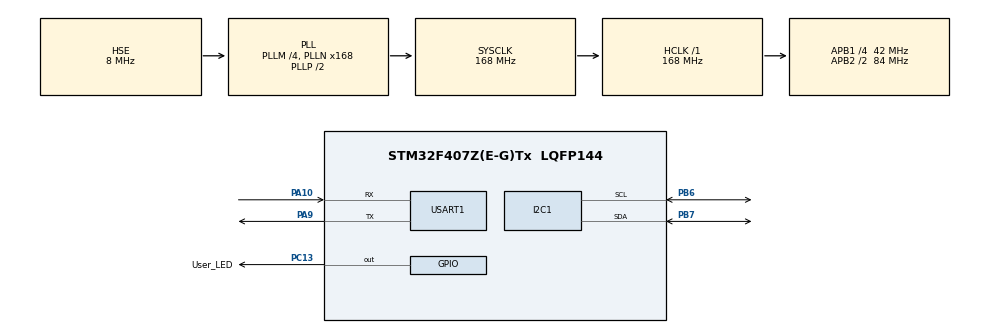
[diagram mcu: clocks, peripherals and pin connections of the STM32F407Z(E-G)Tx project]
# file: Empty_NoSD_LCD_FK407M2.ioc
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Mcu.Family=STM32F4
Mcu.Name=STM32F407Z(E-G)Tx
Mcu.Package=LQFP144
NVIC.PriorityGroup=NVIC_PRIORITYGROUP_4
PA10.Mode=Asynchronous
PA10.Signal=USART1_RX
PA13.Mode=Serial_Wire
PA13.Signal=SYS_JTMS-SWDIO
PA14.Mode=Serial_Wire
PA14.Signal=SYS_JTCK-SWCLK
PA9.Mode=Asynchronous
PA9.Signal=USART1_TX
PB6.Mode=I2C
PB6.Signal=I2C1_SCL
PB7.Mode=I2C
PB7.Signal=I2C1_SDA
PC13-ANTI_TAMP.GPIO_Label=User_LED
PC13-ANTI_TAMP.Signal=GPIO_Output
PC14-OSC32_IN.Mode=LSE-External-Oscillator
PC14-OSC32_IN.Signal=RCC_OSC32_IN
PC15-OSC32_OUT.Mode=LSE-External-Oscillator
PC15-OSC32_OUT.Signal=RCC_OSC32_OUT
PH0-OSC_IN.Mode=HSE-External-Oscillator
PH0-OSC_IN.Signal=RCC_OSC_IN
PH1-OSC_OUT.Mode=HSE-External-Oscillator
PH1-OSC_OUT.Signal=RCC_OSC_OUT
ProjectManager.HeapSize=0x200
ProjectManager.StackSize=0x400
ProjectManager.TargetToolchain=MDK-ARM V5.32
RCC.48MHZClocksFreq_Value=84000000
RCC.AHBFreq_Value=168000000
RCC.APB1CLKDivider=RCC_HCLK_DIV4
RCC.APB1Freq_Value=42000000
RCC.APB1TimFreq_Value=84000000
RCC.APB2CLKDivider=RCC_HCLK_DIV2
RCC.APB2Freq_Value=84000000
RCC.APB2TimFreq_Value=168000000
RCC.CortexFreq_Value=168000000
RCC.HCLKFreq_Value=168000000
RCC.HSE_VALUE=8000000
RCC.HSI_VALUE=16000000
RCC.PLLM=4
RCC.PLLN=168
RCC.PLLSourceVirtual=RCC_PLLSOURCE_HSE
RCC.SYSCLKFreq_VALUE=168000000
RCC.SYSCLKSource=RCC_SYSCLKSOURCE_PLLCLK
RCC.VCOOutputFreq_Value=336000000
USART1.VirtualMode=VM_ASYNC
board=custom

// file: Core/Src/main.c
/* USER CODE BEGIN Header */
/**
 ******************************************************************************
 * @file           : main.c
 * @brief          : Main program body
 ******************************************************************************
 * @attention
 *
 * Copyright (c) 2023 STMicroelectronics.
 * All rights reserved.
 *
 * This software is licensed under terms that can be found in the LICENSE file
 * in the root directory of this software component.
 * If no LICENSE file comes with this software, it is provided AS-IS.
 *
 ******************************************************************************
 */
/* USER CODE END Header */
#include "main.h"
#include "i2c.h"
#include "usart.h"
#include "gpio.h"

/* USER CODE BEGIN Includes */
#include "stdio.h"
#include "mpu6050.h"
/* USER CODE END Includes */

/* USER CODE BEGIN PV */
MPU6050_RAW_t   raw;
MPU6050_ANGLE_t angle;
/* USER CODE END PV */

void SystemClock_Config(void);

int main(void)
{

    /* MCU Configuration--------------------------------------------------------*/

    /* Reset of all peripherals, Initializes the Flash interface and the Systick. */
    HAL_Init();

    /* Configure the system clock */
    SystemClock_Config();

    /* Initialize all configured peripherals */
    MX_GPIO_Init();
    MX_USART1_UART_Init();
    MX_I2C1_Init();
    /* USER CODE BEGIN 2 */
    if (!mpu6050_init()) {
        HAL_GPIO_TogglePin(User_LED_GPIO_Port, User_LED_Pin);
        HAL_Delay(500);
    }

    printf("Calibrating, Plz Wait...");
    mpu6050_calibreation();
    HAL_Delay(500);
    /* USER CODE END 2 */

    /* Infinite loop */
    while (1)
    {

        /* USER CODE BEGIN 3 */
        HAL_Delay(20);
        HAL_GPIO_TogglePin(User_LED_GPIO_Port, User_LED_Pin);

        mpu6050_accel_read(&raw);
        mpu6050_gyro_read(&raw);

        mpu6050_calculate_angle(&raw, &angle);
        printf("Roll: %.1f\tYaw: %.1f\tPitch: %.1f\n", angle.roll, angle.yaw, angle.pitch);

        // printf("%.1f,%.1f,%.1f,%.1f,%.1f,%.1f\n",
        //         raw.Accel_X, raw.Accel_Y, raw.Accel_Z, raw.Gyro_X, raw.Gyro_Y, raw.Gyro_Z);
    }
    /* USER CODE END 3 */
}

void SystemClock_Config(void)
{
    RCC_OscInitTypeDef RCC_OscInitStruct = {0};
    RCC_ClkInitTypeDef RCC_ClkInitStruct = {0};

    /** Configure the main internal regulator output voltage
     */
    __HAL_RCC_PWR_CLK_ENABLE();
    __HAL_PWR_VOLTAGESCALING_CONFIG(PWR_REGULATOR_VOLTAGE_SCALE1);

    /** Initializes the RCC Oscillators according to the specified parameters
     * in the RCC_OscInitTypeDef structure.
     */
    RCC_OscInitStruct.OscillatorType = RCC_OSCILLATORTYPE_HSE;
    RCC_OscInitStruct.HSEState       = RCC_HSE_ON;
    RCC_OscInitStruct.PLL.PLLState   = RCC_PLL_ON;
    RCC_OscInitStruct.PLL.PLLSource  = RCC_PLLSOURCE_HSE;
    RCC_OscInitStruct.PLL.PLLM       = 4;
    RCC_OscInitStruct.PLL.PLLN       = 168;
    RCC_OscInitStruct.PLL.PLLP       = RCC_PLLP_DIV2;
    RCC_OscInitStruct.PLL.PLLQ       = 4;
    if (HAL_RCC_OscConfig(&RCC_OscInitStruct) != HAL_OK) {
        Error_Handler();
    }

    /** Initializes the CPU, AHB and APB buses clocks
     */
    RCC_ClkInitStruct.ClockType      = RCC_CLOCKTYPE_HCLK | RCC_CLOCKTYPE_SYSCLK | RCC_CLOCKTYPE_PCLK1 | RCC_CLOCKTYPE_PCLK2;
    RCC_ClkInitStruct.SYSCLKSource   = RCC_SYSCLKSOURCE_PLLCLK;
    RCC_ClkInitStruct.AHBCLKDivider  = RCC_SYSCLK_DIV1;
    RCC_ClkInitStruct.APB1CLKDivider = RCC_HCLK_DIV4;
    RCC_ClkInitStruct.APB2CLKDivider = RCC_HCLK_DIV2;

    if (HAL_RCC_ClockConfig(&RCC_ClkInitStruct, FLASH_LATENCY_5) != HAL_OK) {
        Error_Handler();
    }
}

/* USER CODE BEGIN 4 */
int fputc( int ch, FILE *f )
{
    HAL_UART_Transmit(&huart1, ( uint8_t * )&ch, 1, HAL_MAX_DELAY);
    return ch;
}
/* USER CODE END 4 */

void Error_Handler(void)
{
    __disable_irq();
    while (1) {
    }
}
